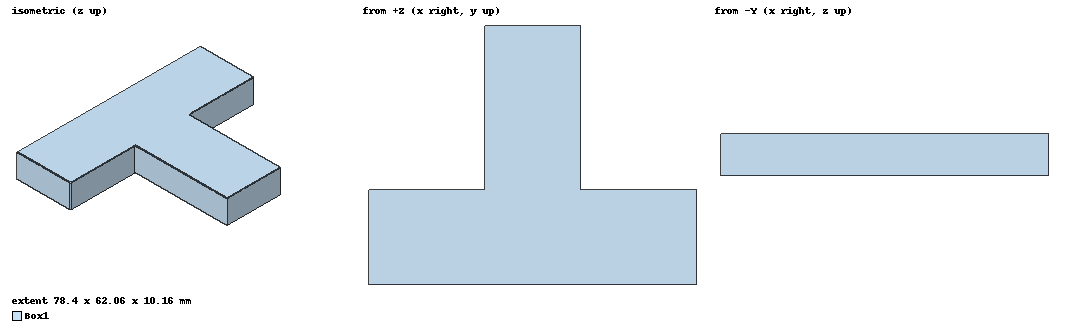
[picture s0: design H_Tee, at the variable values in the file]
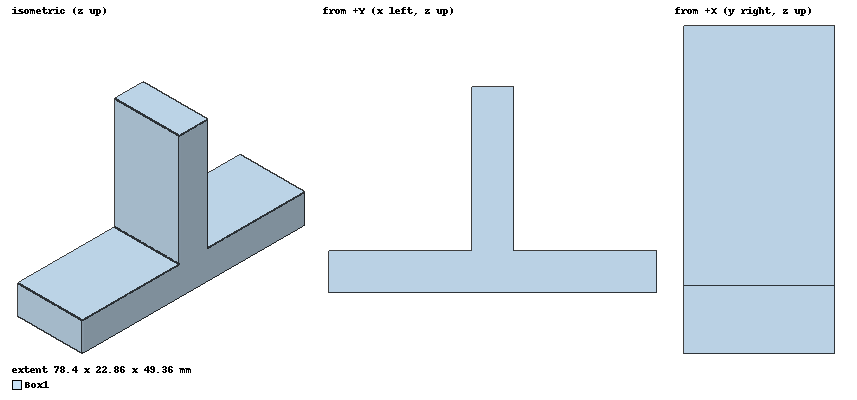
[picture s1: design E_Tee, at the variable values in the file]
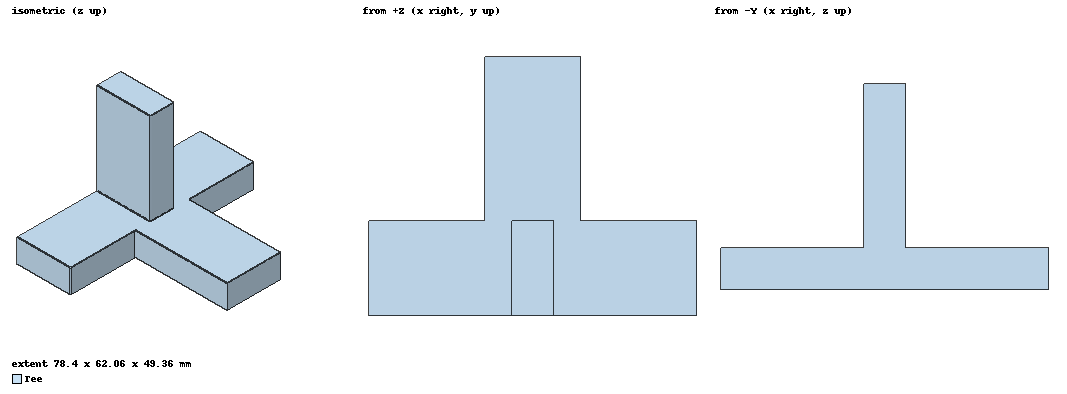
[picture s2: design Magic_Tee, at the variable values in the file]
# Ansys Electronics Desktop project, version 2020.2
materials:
  vacuum: permittivity=1

design H_Tee (HFSS, DrivenModal, model units mm)
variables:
  Lg = 39.2mm
  a = 22.86mm
  b = 10.16mm
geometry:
  Box1 [vacuum] = box(corner=(0mm, 0mm, 0mm), size=(2*Lg, a, b))
  coordinate_system RelativeCS1 = origin=(Lg, a, b/2) x=(1mm, 0mm, 0mm) y=(0mm, 1mm, 0mm)
  Box2 = box(corner=(-a/2, 0mm, -b/2), size=(a, Lg, b)) in RelativeCS1
  Box1.unite(Box2)
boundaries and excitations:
  PerfE1: Perfect E Objects=Box1
  1: Wave Port Faces=Box1.face(+x) NumModes=1 Modes{Mode1{IntLine{middle of Box1.edge(5 of 12) -> middle of Box1.edge(1 of 12)} CharImp=Zpi}}
  2: Wave Port Faces=Box1.face(-x) NumModes=1 Modes{Mode1{IntLine{(0mm, 7.86mm, 0.08mm) -> (0mm, 7.86mm, 10.08mm)} CharImp=Zpi}}
  H: Wave Port Faces=Box1.face(5 of 6) NumModes=1 Modes{Mode1{IntLine{(39.2mm, 62.06mm, 0.08mm) -> (39.2mm, 62.06mm, 10.08mm)} CharImp=Zpi}}
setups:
  Setup1: HfssDriven Frequency=10GHz MaxDeltaS=0.02 MaximumPasses=12 MinimumPasses=1 MinimumConvergedPasses=1 PercentRefinement=30 BasisOrder=1 PortAccuracy=2
    sweep Sweep: 8GHz to 12GHz, 401 points; Type=Interpolating SaveFields InterpTolerance=0.5 InterpMaxSolns=250 InterpUsePortImped=false PassivityErrorTolerance=0.0001
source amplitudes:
  1:1: 1W 0deg
  2:1, H:1: 0W 0deg
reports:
  H_port_magnitude: dB(S(1,H)), dB(S(2,H)), dB(S(H,H)) vs Freq on Setup1 : Sweep; markers MX1 at x=1e+10
  H_port_phase: ang_deg(S(1,H)), ang_deg(S(2,H)) vs Freq on Setup1 : Sweep; markers MX1 at x=1e+10

design E_Tee (HFSS, DrivenModal, model units mm)
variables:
  Lg = 39.2mm
  a = 22.86mm
  b = 10.16mm
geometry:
  Box1 [vacuum] = box(corner=(0mm, 0mm, 0mm), size=(2*Lg, a, b))
  coordinate_system RelativeCS1 = origin=(Lg, a/2, b) x=(1mm, 0mm, 0mm) y=(0mm, 1mm, 0mm)
  Box2 = box(corner=(-b/2, -a/2, 0mm), size=(b, a, Lg)) in RelativeCS1
  Box1.unite(Box2)
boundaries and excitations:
  PerfE1: Perfect E Objects=Box1
  1: Wave Port Faces=Box1.face(+x) NumModes=1 Modes{Mode1{IntLine{(78.4mm, 11.43mm, 0.16mm) -> middle of Box1.edge(1 of 12)} CharImp=Zpi}}
  2: Wave Port Faces=Box1.face(-x) NumModes=1 Modes{Mode1{IntLine{(0mm, 11.43mm, 0.16mm) -> middle of Box1.edge(3 of 12)} CharImp=Zpi}}
  E: Wave Port Faces=Box1.face(1 of 6) NumModes=1 Modes{Mode1{IntLine{(44.2mm, 11.43mm, 49.36mm) -> (34.2mm, 11.43mm, 49.36mm)} CharImp=Zpi}}
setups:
  Setup1: HfssDriven Frequency=10GHz MaxDeltaS=0.02 MaximumPasses=12 MinimumPasses=1 MinimumConvergedPasses=1 PercentRefinement=30 BasisOrder=1 PortAccuracy=2
    sweep Sweep: 8GHz to 12GHz, 401 points; Type=Interpolating SaveFields InterpTolerance=0.5 InterpMaxSolns=250 InterpUsePortImped=false PassivityErrorTolerance=0.0001
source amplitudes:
  1:1: 1W 0deg
  2:1, E:1: 0W 0deg
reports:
  E_port_magnitude: dB(S(1,E)), dB(S(2,E)), dB(S(E,E)) vs Freq on Setup1 : Sweep; markers MX1 at x=1e+10
  E_port_phase: ang_deg(S(1,E)), ang_deg(S(2,E)) vs Freq on Setup1 : Sweep; markers MX1 at x=1.0001586e+10

design Magic_Tee (HFSS, DrivenModal, model units mm)
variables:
  Lg = 39.2mm
  a = 22.86mm
  b = 10.16mm
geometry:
  Tee [vacuum] = box(corner=(0mm, 0mm, 0mm), size=(2*Lg, a, b))
  coordinate_system RelativeCS1 = origin=(Lg, a, b/2) x=(1mm, 0mm, 0mm) y=(0mm, 1mm, 0mm)
  H_arm = box(corner=(-a/2, 0mm, -b/2), size=(a, Lg, b)) in RelativeCS1
  coordinate_system RelativeCS2 = origin=(Lg, a/2, b) x=(1mm, 0mm, 0mm) y=(0mm, 1mm, 0mm)
  E_arm = box(corner=(-b/2, -a/2, 0mm), size=(b, a, Lg)) in RelativeCS2
  Tee.unite(H_arm)
  Tee.unite(E_arm)
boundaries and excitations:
  PerfE1: Perfect E Objects=Tee
  1: Wave Port Faces=Tee.face(+x) NumModes=1 Modes{Mode1{IntLine{(78.4mm, 10.43mm, 0.16mm) -> Tee.edge(1 of 12) at 0.456 along} CharImp=Zpi}}
  2: Wave Port Faces=Tee.face(-x) NumModes=1 Modes{Mode1{IntLine{middle of Tee.edge(7 of 12) -> middle of Tee.edge(3 of 12)} CharImp=Zpi}}
  H: Wave Port Faces=Tee.face(5 of 6) NumModes=1 Modes{Mode1{IntLine{middle of Tee.edge(8 of 12) -> middle of Tee.edge(2 of 12)} CharImp=Zpi}}
  E: Wave Port Faces=Tee.face(1 of 6) NumModes=1 Modes{Mode1{IntLine{(44.2mm, 11.43mm, 49.36mm) -> middle of Tee.edge(3 of 12)} CharImp=Zpi}}
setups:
  Setup1: HfssDriven Frequency=10GHz MaxDeltaS=0.02 MaximumPasses=12 MinimumPasses=1 MinimumConvergedPasses=1 PercentRefinement=30 BasisOrder=1 PortAccuracy=2
    sweep Sweep: 8GHz to 12GHz, 401 points; Type=Interpolating SaveFields InterpTolerance=0.5 InterpMaxSolns=250 InterpUsePortImped=false PassivityErrorTolerance=0.0001
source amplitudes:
  1:1: 1W 0deg
  2:1, H:1, E:1: 0W 0deg
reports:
  H_port_magnitude: dB(S(1,H)), dB(S(2,H)), dB(S(H,H)) vs Freq on Setup1 : Sweep; markers MX1 at x=1e+10
  E_port_magnitude: dB(S(1,E)), dB(S(2,E)), dB(S(E,E)) vs Freq on Setup1 : Sweep; markers MX1 at x=1e+10
  E_port_phase: ang_deg(S(1,E)), ang_deg(S(2,E)) vs Freq on Setup1 : Sweep; markers MX1 at x=1e+10
  H_port_phase: ang_deg(S(1,H)), ang_deg(S(2,H)) vs Freq on Setup1 : Sweep; markers MX1 at x=1e+10
  H_E_isolation: dB(S(H,E)), dB(S(E,H)) vs Freq on Setup1 : Sweep; markers MX1 at x=1e+10
